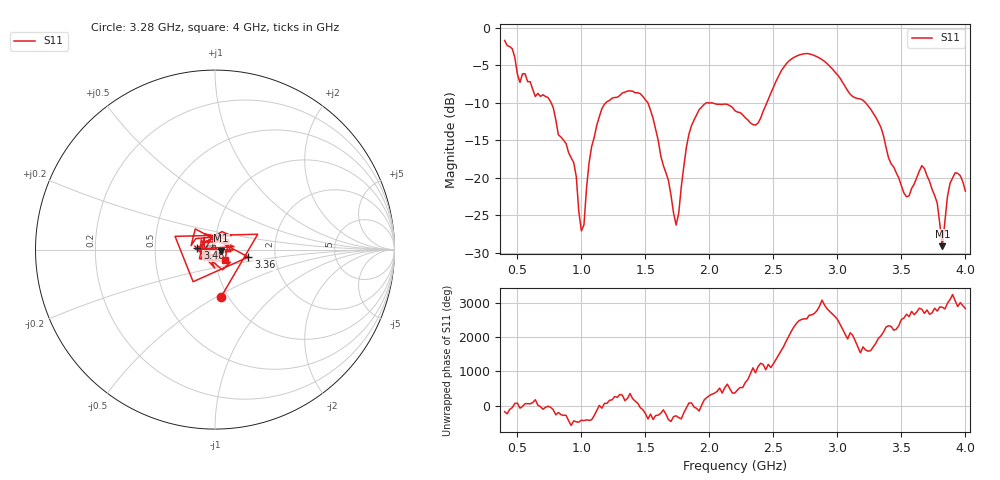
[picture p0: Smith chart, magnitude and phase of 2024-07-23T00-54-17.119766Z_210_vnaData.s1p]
!Created with skrf (http://scikit-rf.org).
# Hz S RI R 50.0
!freq ReS11 ImS11
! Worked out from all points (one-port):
!   181 points, 400 MHz to 4 GHz, reference 50 ohm
!   lowest |S11| = -29.1 dB at 3.82 GHz (marker M1), VSWR 1.07, Z = 53.5 - j0.733 ohm
!   |S11| at or under -10 dB: 1.519 GHz to 1.978 GHz (459.6 MHz wide, 26.3 % of centre); 1.986 GHz to 2.449 GHz (463.2 MHz wide, 20.9 % of centre); 3.22 GHz to end of sweep (the widest 3 of 4)
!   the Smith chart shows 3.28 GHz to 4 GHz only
!   S11 on the Smith chart (normalised r, x): 3.28 GHz: 0.92, -0.53; 3.36 GHz: 1.45, -0.12; 3.48 GHz: 0.82, +0.02; 4 GHz: 1.11, -0.13
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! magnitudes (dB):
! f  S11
! 400 MHz  -1.7
! 520 MHz  -7.3
! 760 MHz  -9.9
! 860 MHz  -15.0
! 940 MHz  -18.0
! 1 GHz  -27.1
! 1.06 GHz  -18.0
! 1.12 GHz  -13.0
! 1.3 GHz  -9.0
! 1.52 GHz  -10.0
! 1.74 GHz  -26.3
! 1.76 GHz  -24.8
! 1.84 GHz  -14.2
! 1.92 GHz  -10.9
! 2.2 GHz  -11.1
! 2.38 GHz  -12.7
! 2.66 GHz  -3.9
! 2.88 GHz  -4.3
! 3.1 GHz  -8.9
! 3.28 GHz  -11.4
! 3.36 GHz  -14.4
! 3.48 GHz  -20.1
! 3.56 GHz  -22.4
! 3.68 GHz  -18.8
! 3.78 GHz  -23.4
! 3.82 GHz  -29.1
! 3.88 GHz  -20.8
! 4 GHz  -21.8
